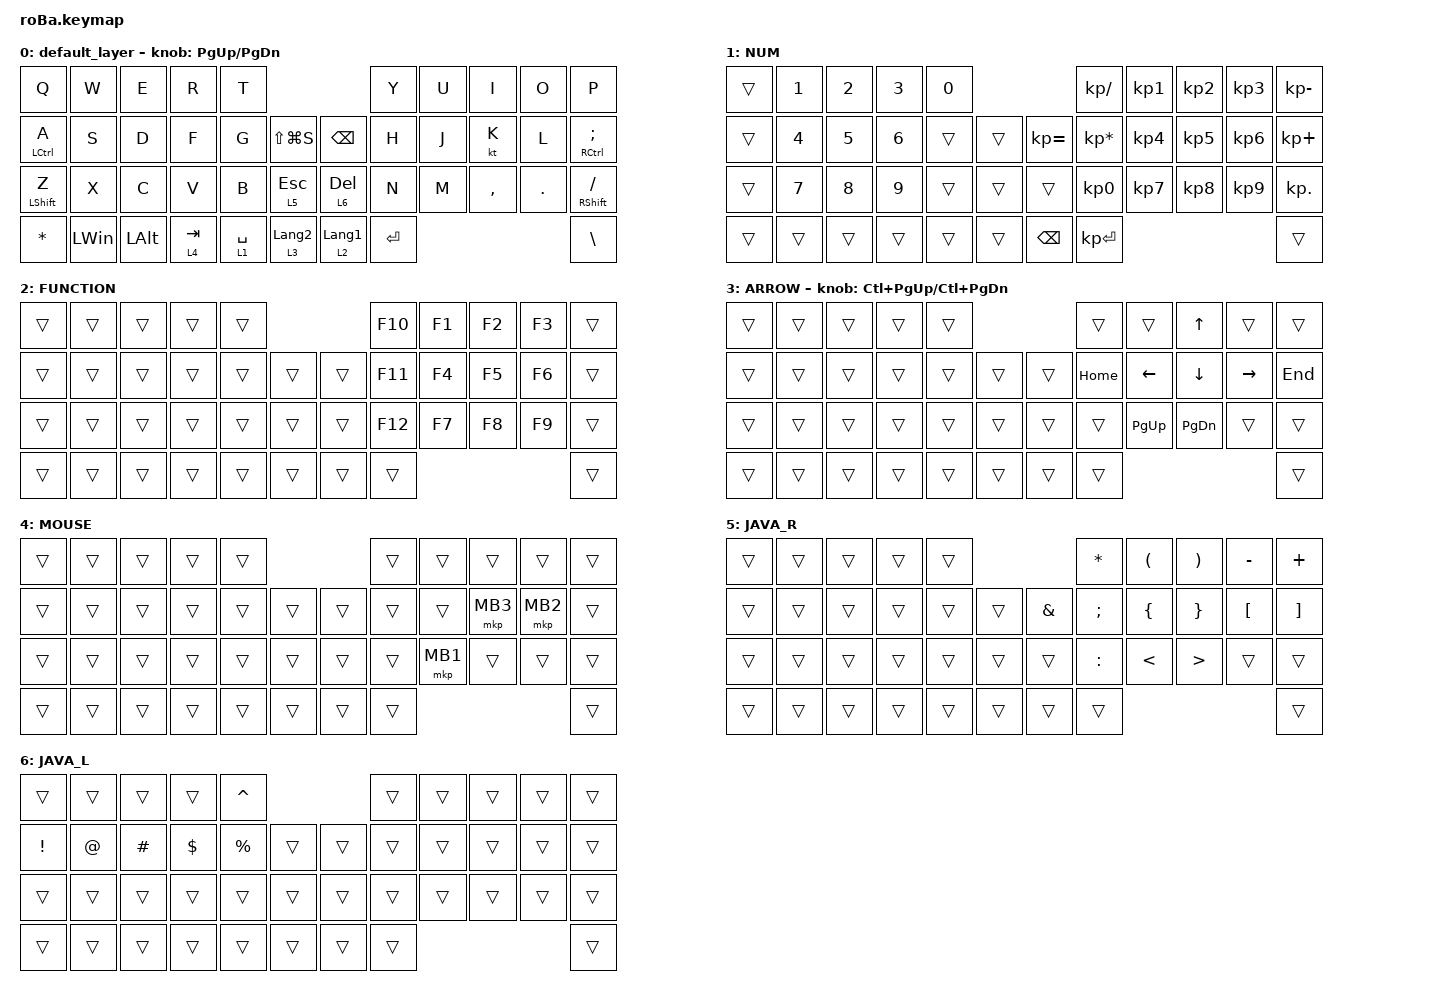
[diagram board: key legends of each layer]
#include <behaviors.dtsi>
#include <dt-bindings/zmk/keys.h>
#include <dt-bindings/zmk/pointing.h>

&mt {
    flavor = "balanced";
    quick-tap-ms = <0>;
};

&trackball {
    automouse-layer = <4>;
    scroll-layers = <5>;

    // arrows {
    //     layers = <3>;
    //     bindings =
    //         <&kp RIGHT_ARROW>,
    //         <&kp LEFT_ARROW>,
    //         <&kp UP_ARROW>,
    //         <&kp DOWN_ARROW>;
    //     tick = <10>;
    //     wait-ms = <5>;
    //     tap-ms = <5>;
    // };
};

/ {
    combos {
        compatible = "zmk,combos";

        tab {
            bindings = <&kp TAB>;
            key-positions = <11 12>;
        };

        esc {
            bindings = <&kp ESCAPE>;
            key-positions = <1 2>;
        };

        grave {
            bindings = <&kp GRAVE>;
            key-positions = <6 7>;
        };

        simgle_quote {
            bindings = <&kp SINGLE_QUOTE>;
            key-positions = <18 19>;
        };

        double_quote {
            bindings = <&kp DOUBLE_QUOTES>;
            key-positions = <30 31>;
        };
    };

    macros {
        to_layer_0: to_layer_0 {
            compatible = "zmk,behavior-macro-one-param";
            #binding-cells = <1>;
            bindings = <&to 0 &macro_param_1to1 &kp MACRO_PLACEHOLDER>;
            label = "TO_LAYER_0";
        };
    };

    behaviors {
        lt_to_layer_0: lt_to_layer_0 {
            compatible = "zmk,behavior-hold-tap";
            label = "LAYER_TAP_TO_0";
            bindings = <&mo>, <&to_layer_0>;

            #binding-cells = <2>;
            tapping-term-ms = <200>;
        };
    };

    keymap {
        compatible = "zmk,keymap";

        default_layer {
            bindings = <
&kp Q               &kp W         &kp E         &kp R      &kp T                                                &kp Y      &kp U  &kp I      &kp O    &kp P
&mt LEFT_CONTROL A  &kp S         &kp D         &kp F      &kp G        &kp LS(LG(S))         &kp BACKSPACE     &kp H      &kp J  &kt K      &kp L    &mt RCTRL SEMICOLON
&mt LEFT_SHIFT Z    &kp X         &kp C         &kp V      &kp B        &lt 5 ESCAPE          &lt 6 DELETE      &kp N      &kp M  &kp COMMA  &kp DOT  &mt RIGHT_SHIFT SLASH
&kp ASTERISK        &kp LEFT_WIN  &kp LEFT_ALT  &lt 4 TAB  &lt 1 SPACE  &lt 3 LANGUAGE_2      &lt 2 LANGUAGE_1  &kp ENTER                             &kp BACKSLASH
            >;

            sensor-bindings = <&inc_dec_kp PG_UP PAGE_DOWN>;
        };

        NUM {
            bindings = <
&trans  &kp NUMBER_1  &kp NUMBER_2  &kp NUMBER_3  &kp NUMBER_0                             &kp KP_DIVIDE    &kp KP_NUMBER_1  &kp KP_NUMBER_2  &kp KP_NUMBER_3  &kp KP_MINUS
&trans  &kp NUMBER_4  &kp NUMBER_5  &kp NUMBER_6  &trans        &trans      &kp KP_EQUAL   &kp KP_MULTIPLY  &kp KP_NUMBER_4  &kp KP_NUMBER_5  &kp KP_NUMBER_6  &kp KP_PLUS
&trans  &kp NUMBER_7  &kp NUMBER_8  &kp NUMBER_9  &trans        &trans      &trans         &kp KP_NUMBER_0  &kp KP_NUMBER_7  &kp KP_NUMBER_8  &kp KP_NUMBER_9  &kp KP_DOT
&trans  &trans        &trans        &trans        &trans        &trans      &kp BACKSPACE  &kp KP_ENTER                                                        &trans
            >;
        };

        FUNCTION {
            bindings = <
&trans  &trans  &trans  &trans  &trans                      &kp F10  &kp F1  &kp F2  &kp F3  &trans
&trans  &trans  &trans  &trans  &trans  &trans      &trans  &kp F11  &kp F4  &kp F5  &kp F6  &trans
&trans  &trans  &trans  &trans  &trans  &trans      &trans  &kp F12  &kp F7  &kp F8  &kp F9  &trans
&trans  &trans  &trans  &trans  &trans  &trans      &trans  &trans                           &trans
            >;
        };

        ARROW {
            bindings = <
&trans  &trans  &trans  &trans  &trans                      &trans    &trans          &kp UP_ARROW    &trans           &trans
&trans  &trans  &trans  &trans  &trans  &trans      &trans  &kp HOME  &kp LEFT_ARROW  &kp DOWN_ARROW  &kp RIGHT_ARROW  &kp END
&trans  &trans  &trans  &trans  &trans  &trans      &trans  &trans    &kp PAGE_UP     &kp PAGE_DOWN   &trans           &trans
&trans  &trans  &trans  &trans  &trans  &trans      &trans  &trans                                                     &trans
            >;

            sensor-bindings = <&inc_dec_kp LC(PAGE_UP) LC(PAGE_DOWN)>;
        };

        MOUSE {
            bindings = <
&trans  &trans  &trans  &trans  &trans                      &trans  &trans    &trans    &trans    &trans
&trans  &trans  &trans  &trans  &trans  &trans      &trans  &trans  &trans    &mkp MB3  &mkp MB2  &trans
&trans  &trans  &trans  &trans  &trans  &trans      &trans  &trans  &mkp MB1  &trans    &trans    &trans
&trans  &trans  &trans  &trans  &trans  &trans      &trans  &trans                                &trans
            >;
        };

        JAVA_R {
            bindings = <
&trans  &trans  &trans  &trans  &trans                             &kp ASTERISK   &kp LPAR       &kp RPAR          &kp MINUS         &kp PLUS
&trans  &trans  &trans  &trans  &trans  &trans      &kp AMPERSAND  &kp SEMICOLON  &kp LBRC       &kp RBRC          &kp LEFT_BRACKET  &kp RIGHT_BRACKET
&trans  &trans  &trans  &trans  &trans  &trans      &trans         &kp COLON      &kp LESS_THAN  &kp GREATER_THAN  &trans            &trans
&trans  &trans  &trans  &trans  &trans  &trans      &trans         &trans                                                            &trans
            >;
        };

        JAVA_L {
            bindings = <
&trans           &trans       &trans    &trans      &kp CARET                        &trans  &trans  &trans  &trans  &trans
&kp EXCLAMATION  &kp AT_SIGN  &kp HASH  &kp DOLLAR  &kp PERCENT  &trans      &trans  &trans  &trans  &trans  &trans  &trans
&trans           &trans       &trans    &trans      &trans       &trans      &trans  &trans  &trans  &trans  &trans  &trans
&trans           &trans       &trans    &trans      &trans       &trans      &trans  &trans                          &trans
            >;
        };
    };
};
